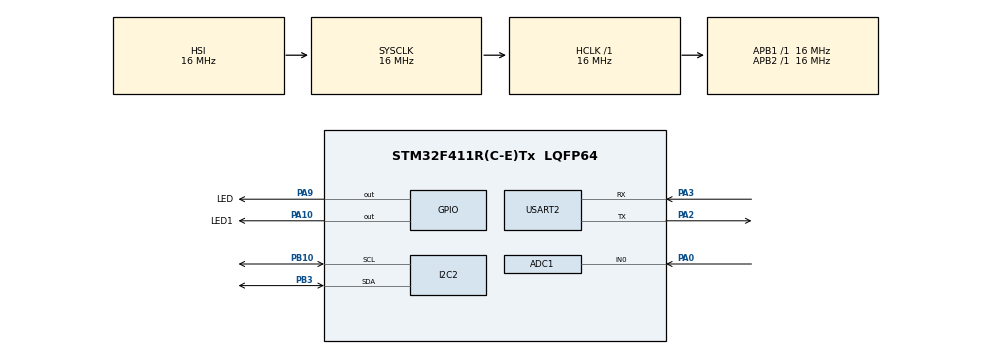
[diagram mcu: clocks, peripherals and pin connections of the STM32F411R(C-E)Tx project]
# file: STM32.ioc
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ADC1.Channel-0\#ChannelRegularConversion=ADC_CHANNEL_0
ADC1.ContinuousConvMode=ENABLE
ADC1.NbrOfConversionFlag=1
ADC1.Rank-0\#ChannelRegularConversion=1
ADC1.SamplingTime-0\#ChannelRegularConversion=ADC_SAMPLETIME_112CYCLES
ADC1.master=1
Mcu.Family=STM32F4
Mcu.Name=STM32F411R(C-E)Tx
Mcu.Package=LQFP64
NVIC.PriorityGroup=NVIC_PRIORITYGROUP_4
NVIC.TIM2_IRQn=true\:0\:0\:false\:false\:true\:true\:true\:true
NVIC.USART2_IRQn=true\:0\:0\:false\:false\:true\:true\:true\:true
PA0-WKUP.Signal=ADCx_IN0
PA10.GPIO_Label=LED1
PA10.Signal=GPIO_Output
PA2.Mode=Asynchronous
PA2.Signal=USART2_TX
PA3.Mode=Asynchronous
PA3.Signal=USART2_RX
PA9.GPIO_Label=LED
PA9.Signal=GPIO_Output
PB10.Mode=I2C
PB10.Signal=I2C2_SCL
PB3.Mode=I2C
PB3.Signal=I2C2_SDA
ProjectManager.HeapSize=0x200
ProjectManager.StackSize=0x400
ProjectManager.TargetToolchain=STM32CubeIDE
RCC.AHBFreq_Value=16000000
RCC.APB1Freq_Value=16000000
RCC.APB2Freq_Value=16000000
RCC.CortexFreq_Value=16000000
RCC.HSE_VALUE=25000000
RCC.HSI_VALUE=16000000
RCC.LSE_VALUE=32768
RCC.SYSCLKFreq_VALUE=16000000
RCC.VCOOutputFreq_Value=192000000
SH.ADCx_IN0.0=ADC1_IN0,IN0
TIM2.Period=99
TIM2.Prescaler=1599
USART2.VirtualMode=VM_ASYNC
VP_TIM2_VS_ClockSourceINT.Mode=Internal
board=custom

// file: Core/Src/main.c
/* USER CODE BEGIN Header */
/**
  ******************************************************************************
  * @file           : main.c
  * @brief          : Main program body
  ******************************************************************************
  * @attention
  *
  * Copyright (c) 2023 STMicroelectronics.
  * All rights reserved.
  *
  * This software is licensed under terms that can be found in the LICENSE file
  * in the root directory of this software component.
  * If no LICENSE file comes with this software, it is provided AS-IS.
  *
  ******************************************************************************
  */
/* USER CODE END Header */
#include "main.h"

/* USER CODE BEGIN Includes */
#include "scheduler.h"
#include "task.h"
#include <stdio.h>
#include "DHT12.h"
#include "Controller.h"
/* USER CODE END Includes */

ADC_HandleTypeDef hadc1;

I2C_HandleTypeDef hi2c2;

TIM_HandleTypeDef htim2;

UART_HandleTypeDef huart2;

void SystemClock_Config(void);
static void MX_GPIO_Init(void);
static void MX_TIM2_Init(void);
static void MX_USART2_UART_Init(void);
static void MX_I2C2_Init(void);
static void MX_ADC1_Init(void);
/* USER CODE BEGIN PFP */

#define READ_BUFF 6

/* USER CODE END PFP */

/* USER CODE BEGIN 0 */

uint8_t temp[READ_BUFF];
uint8_t text[50];
void HAL_UART_RxCpltCallback(UART_HandleTypeDef*huart){

	HAL_UART_Receive_IT(&huart2, temp, READ_BUFF);

	Message mess;
	mess.req=temp[0];
	mess.type=temp[1];
	mess.seq=temp[2];
	mess.failLimit=temp[3];
	mess.ack=temp[4];
	mess.check_sum=temp[5];
//	HAL_UART_Transmit(&huart2, text, sprintf(text,"!MCU%u:%u:%u:%u:%u:%u#",temp[0],temp[1],temp[2],temp[3],temp[4],temp[5]), 100);
	processMessage(mess);

}

/* USER CODE END 0 */

int main(void)
{

  /* MCU Configuration--------------------------------------------------------*/

  /* Reset of all peripherals, Initializes the Flash interface and the Systick. */
  HAL_Init();

  /* Configure the system clock */
  SystemClock_Config();

  /* Initialize all configured peripherals */
  MX_GPIO_Init();
  MX_TIM2_Init();
  MX_USART2_UART_Init();
  MX_I2C2_Init();
  MX_ADC1_Init();
  /* USER CODE BEGIN 2 */
  HAL_TIM_Base_Start_IT(&htim2);
  HAL_UART_Receive_IT(&huart2, &temp, READ_BUFF);
  Connectivity conn;
  conn.hi2c=hi2c2;
  conn.huart=huart2;
  conn.adc=hadc1;
  ControllerInit(conn);
  /* USER CODE END 2 */

  /* Infinite loop */
  /* USER CODE BEGIN WHILE */
  while (1)
  {
	  SCH_Dispatch();
    /* USER CODE END WHILE */

  }
}

void SystemClock_Config(void)
{
  RCC_OscInitTypeDef RCC_OscInitStruct = {0};
  RCC_ClkInitTypeDef RCC_ClkInitStruct = {0};

  /** Configure the main internal regulator output voltage
  */
  __HAL_RCC_PWR_CLK_ENABLE();
  __HAL_PWR_VOLTAGESCALING_CONFIG(PWR_REGULATOR_VOLTAGE_SCALE1);

  /** Initializes the RCC Oscillators according to the specified parameters
  * in the RCC_OscInitTypeDef structure.
  */
  RCC_OscInitStruct.OscillatorType = RCC_OSCILLATORTYPE_HSI;
  RCC_OscInitStruct.HSIState = RCC_HSI_ON;
  RCC_OscInitStruct.HSICalibrationValue = RCC_HSICALIBRATION_DEFAULT;
  RCC_OscInitStruct.PLL.PLLState = RCC_PLL_NONE;
  if (HAL_RCC_OscConfig(&RCC_OscInitStruct) != HAL_OK)
  {
    Error_Handler();
  }

  /** Initializes the CPU, AHB and APB buses clocks
  */
  RCC_ClkInitStruct.ClockType = RCC_CLOCKTYPE_HCLK|RCC_CLOCKTYPE_SYSCLK
                              |RCC_CLOCKTYPE_PCLK1|RCC_CLOCKTYPE_PCLK2;
  RCC_ClkInitStruct.SYSCLKSource = RCC_SYSCLKSOURCE_HSI;
  RCC_ClkInitStruct.AHBCLKDivider = RCC_SYSCLK_DIV1;
  RCC_ClkInitStruct.APB1CLKDivider = RCC_HCLK_DIV1;
  RCC_ClkInitStruct.APB2CLKDivider = RCC_HCLK_DIV1;

  if (HAL_RCC_ClockConfig(&RCC_ClkInitStruct, FLASH_LATENCY_0) != HAL_OK)
  {
    Error_Handler();
  }
}

static void MX_ADC1_Init(void)
{

  ADC_ChannelConfTypeDef sConfig = {0};

  /** Configure the global features of the ADC (Clock, Resolution, Data Alignment and number of conversion)
  */
  hadc1.Instance = ADC1;
  hadc1.Init.ClockPrescaler = ADC_CLOCK_SYNC_PCLK_DIV2;
  hadc1.Init.Resolution = ADC_RESOLUTION_12B;
  hadc1.Init.ScanConvMode = DISABLE;
  hadc1.Init.ContinuousConvMode = ENABLE;
  hadc1.Init.DiscontinuousConvMode = DISABLE;
  hadc1.Init.ExternalTrigConvEdge = ADC_EXTERNALTRIGCONVEDGE_NONE;
  hadc1.Init.ExternalTrigConv = ADC_SOFTWARE_START;
  hadc1.Init.DataAlign = ADC_DATAALIGN_RIGHT;
  hadc1.Init.NbrOfConversion = 1;
  hadc1.Init.DMAContinuousRequests = DISABLE;
  hadc1.Init.EOCSelection = ADC_EOC_SINGLE_CONV;
  if (HAL_ADC_Init(&hadc1) != HAL_OK)
  {
    Error_Handler();
  }

  /** Configure for the selected ADC regular channel its corresponding rank in the sequencer and its sample time.
  */
  sConfig.Channel = ADC_CHANNEL_0;
  sConfig.Rank = 1;
  sConfig.SamplingTime = ADC_SAMPLETIME_112CYCLES;
  if (HAL_ADC_ConfigChannel(&hadc1, &sConfig) != HAL_OK)
  {
    Error_Handler();
  }

}

static void MX_I2C2_Init(void)
{

  hi2c2.Instance = I2C2;
  hi2c2.Init.ClockSpeed = 100000;
  hi2c2.Init.DutyCycle = I2C_DUTYCYCLE_2;
  hi2c2.Init.OwnAddress1 = 0;
  hi2c2.Init.AddressingMode = I2C_ADDRESSINGMODE_7BIT;
  hi2c2.Init.DualAddressMode = I2C_DUALADDRESS_DISABLE;
  hi2c2.Init.OwnAddress2 = 0;
  hi2c2.Init.GeneralCallMode = I2C_GENERALCALL_DISABLE;
  hi2c2.Init.NoStretchMode = I2C_NOSTRETCH_DISABLE;
  if (HAL_I2C_Init(&hi2c2) != HAL_OK)
  {
    Error_Handler();
  }

}

static void MX_TIM2_Init(void)
{

  TIM_ClockConfigTypeDef sClockSourceConfig = {0};
  TIM_MasterConfigTypeDef sMasterConfig = {0};

  htim2.Instance = TIM2;
  htim2.Init.Prescaler = 1599;
  htim2.Init.CounterMode = TIM_COUNTERMODE_UP;
  htim2.Init.Period = 99;
  htim2.Init.ClockDivision = TIM_CLOCKDIVISION_DIV1;
  htim2.Init.AutoReloadPreload = TIM_AUTORELOAD_PRELOAD_DISABLE;
  if (HAL_TIM_Base_Init(&htim2) != HAL_OK)
  {
    Error_Handler();
  }
  sClockSourceConfig.ClockSource = TIM_CLOCKSOURCE_INTERNAL;
  if (HAL_TIM_ConfigClockSource(&htim2, &sClockSourceConfig) != HAL_OK)
  {
    Error_Handler();
  }
  sMasterConfig.MasterOutputTrigger = TIM_TRGO_RESET;
  sMasterConfig.MasterSlaveMode = TIM_MASTERSLAVEMODE_DISABLE;
  if (HAL_TIMEx_MasterConfigSynchronization(&htim2, &sMasterConfig) != HAL_OK)
  {
    Error_Handler();
  }

}

static void MX_USART2_UART_Init(void)
{

  huart2.Instance = USART2;
  huart2.Init.BaudRate = 115200;
  huart2.Init.WordLength = UART_WORDLENGTH_8B;
  huart2.Init.StopBits = UART_STOPBITS_1;
  huart2.Init.Parity = UART_PARITY_NONE;
  huart2.Init.Mode = UART_MODE_TX_RX;
  huart2.Init.HwFlowCtl = UART_HWCONTROL_NONE;
  huart2.Init.OverSampling = UART_OVERSAMPLING_16;
  if (HAL_UART_Init(&huart2) != HAL_OK)
  {
    Error_Handler();
  }

}

static void MX_GPIO_Init(void)
{
  GPIO_InitTypeDef GPIO_InitStruct = {0};

  /* GPIO Ports Clock Enable */
  __HAL_RCC_GPIOA_CLK_ENABLE();
  __HAL_RCC_GPIOB_CLK_ENABLE();

  /*Configure GPIO pin Output Level */
  HAL_GPIO_WritePin(GPIOA, LED_Pin|LED1_Pin, GPIO_PIN_RESET);

  /*Configure GPIO pins : LED_Pin LED1_Pin */
  GPIO_InitStruct.Pin = LED_Pin|LED1_Pin;
  GPIO_InitStruct.Mode = GPIO_MODE_OUTPUT_PP;
  GPIO_InitStruct.Pull = GPIO_NOPULL;
  GPIO_InitStruct.Speed = GPIO_SPEED_FREQ_LOW;
  HAL_GPIO_Init(GPIOA, &GPIO_InitStruct);

}

/* USER CODE BEGIN 4 */
void HAL_TIM_PeriodElapsedCallback(TIM_HandleTypeDef*htim){
	if(htim->Instance=htim2.Instance){
		SCH_Update();
		TimerRun();
	}
}
/* USER CODE END 4 */

void Error_Handler(void)
{
  __disable_irq();
  while (1)
  {
  }
}
